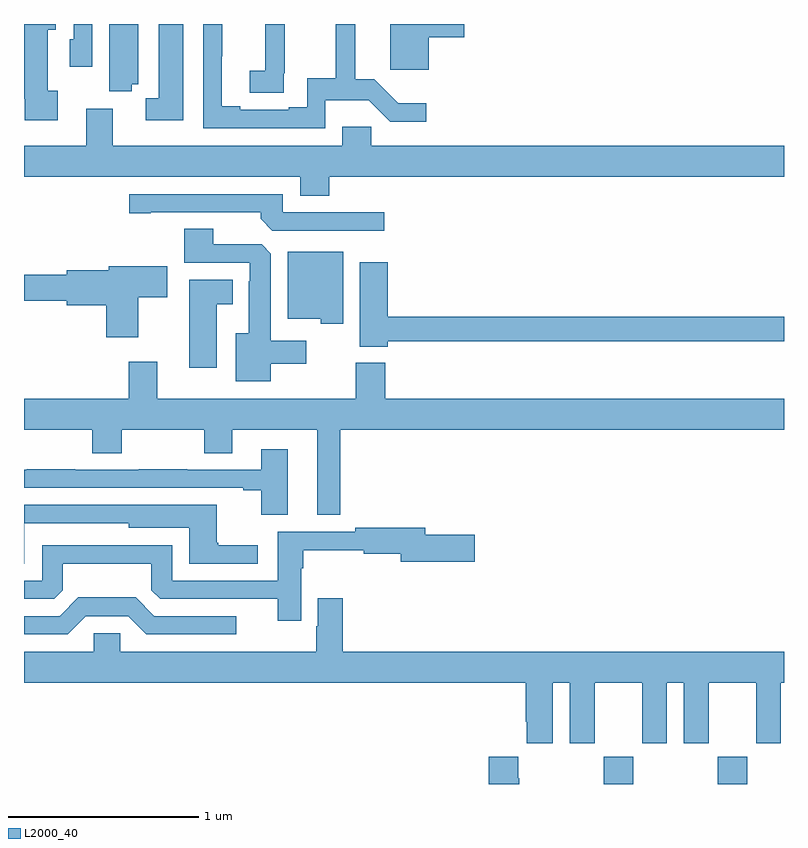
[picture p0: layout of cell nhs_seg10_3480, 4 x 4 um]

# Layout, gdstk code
import gdstk
lib = gdstk.Library(unit=1e-6, precision=1e-09)
def R(c, l, rs):  # rectangles x0, y0, x1, y1
    for r in rs: c.add(gdstk.rectangle(r[:2], r[2:], *l))
def P(c, l, *ps):  # polygons
    for p in ps: c.add(gdstk.Polygon(p, *l))
L2000_40 = (2000, 40)

nhs_seg10_3480 = lib.new_cell('nhs_seg10_3480')
R(nhs_seg10_3480, L2000_40, [(304.051,1250.5,304.206,1250.644), (304.651,1250.5,304.806,1250.644)])
P(nhs_seg10_3480, L2000_40, [(301.568,1254.182),(301.6,1254.182),(301.6,1254.5),(301.448,1254.5),(301.448,1254.145),(301.568,1254.145)],
  [(301.837,1254.5),(301.709,1254.5),(301.709,1254.108),(301.641,1254.108),(301.641,1253.993),(301.837,1253.993)],
  [(301.177,1254.15),(301.126,1254.15),(301.126,1254.47),(301.168,1254.47),(301.168,1254.5),(301,1254.5),(301,1254.106),(301.004,1254.106),(301.004,1253.994),(301.177,1253.994)],
  [(303.13,1254.43),(303.316,1254.43),(303.316,1254.5),(302.927,1254.5),(302.927,1254.26),(303.13,1254.26)],
  [(302.586,1254.098),(302.815,1254.098),(302.928,1253.985),(303.118,1253.985),(303.118,1254.082),(302.969,1254.082),(302.843,1254.208),(302.744,1254.208),(302.744,1254.5),(302.641,1254.5),(302.641,1254.215),(302.49,1254.215),(302.49,1254.062),(302.393,1254.062),(302.393,1254.048),(302.137,1254.048),(302.137,1254.068),(302.041,1254.068),(302.041,1254.331),(302.043,1254.331),(302.043,1254.5),(301.944,1254.5),(301.944,1253.952),(302.586,1253.952)],
  [(302.366,1254.241),(302.372,1254.241),(302.372,1254.5),(302.269,1254.5),(302.269,1254.254),(302.187,1254.254),(302.187,1254.139),(302.366,1254.139)],
  [(301.359,1254.5),(301.263,1254.5),(301.263,1254.42),(301.242,1254.42),(301.242,1254.276),(301.359,1254.276)],
  [(302.606,1253.696),(305,1253.696),(305,1253.86),(302.827,1253.86),(302.827,1253.958),(302.675,1253.958),(302.675,1253.86),(301.468,1253.86),(301.468,1254.055),(301.328,1254.055),(301.328,1253.86),(301,1253.86),(301,1253.696),(302.453,1253.696),(302.453,1253.597),(302.606,1253.597)],
  [(302.896,1253.508),(302.361,1253.508),(302.361,1253.604),(301.554,1253.604),(301.554,1253.503),(301.666,1253.503),(301.666,1253.508),(302.246,1253.508),(302.246,1253.474),(302.307,1253.412),(302.896,1253.412)],
  [(302.299,1252.712),(302.485,1252.712),(302.485,1252.834),(302.299,1252.834),(302.299,1253.291),(302.25,1253.34),(301.996,1253.34),(301.996,1253.423),(301.844,1253.423),(301.844,1253.244),(302.187,1253.244),(302.187,1253.147),(302.183,1253.147),(302.183,1252.873),(302.114,1252.873),(302.114,1252.619),(302.299,1252.619)],
  [(302.68,1253.302),(302.387,1253.302),(302.387,1252.949),(302.562,1252.949),(302.562,1252.922),(302.68,1252.922)],
  [(302.915,1252.83),(305,1252.83),(305,1252.958),(302.915,1252.958),(302.915,1253.245),(302.768,1253.245),(302.768,1252.802),(302.915,1252.802)],
  [(301.6,1253.062),(301.753,1253.062),(301.753,1253.224),(301.445,1253.224),(301.445,1253.204),(301.226,1253.204),(301.226,1253.18),(301,1253.18),(301,1253.044),(301.226,1253.044),(301.226,1253.021),(301.433,1253.021),(301.433,1252.851),(301.6,1252.851)],
  [(302.014,1253.024),(302.098,1253.024),(302.098,1253.155),(301.871,1253.155),(301.871,1252.692),(302.014,1252.692)],
  [(302.665,1252.364),(305,1252.364),(305,1252.528),(302.9,1252.528),(302.9,1252.717),(302.747,1252.717),(302.747,1252.528),(301.702,1252.528),(301.702,1252.723),(301.55,1252.723),(301.55,1252.528),(301,1252.528),(301,1252.364),(301.36,1252.364),(301.36,1252.24),(301.515,1252.24),(301.515,1252.364),(301.948,1252.364),(301.948,1252.24),(302.095,1252.24),(302.095,1252.364),(302.543,1252.364),(302.543,1251.918),(302.665,1251.918)],
  [(302.389,1252.261),(302.249,1252.261),(302.249,1252.155),(301.859,1252.155),(301.859,1252.157),(301.603,1252.157),(301.603,1252.155),(301.271,1252.155),(301.271,1252.157),(301.015,1252.157),(301.015,1252.155),(301,1252.155),(301,1252.059),(302.153,1252.059),(302.153,1252.047),(302.249,1252.047),(302.249,1251.918),(302.389,1251.918)],
  [(301.002,1251.873),(301.551,1251.873),(301.551,1251.848),(301.871,1251.848),(301.871,1251.66),(302.23,1251.66),(302.23,1251.757),(302.022,1251.757),(302.022,1251.769),(302.014,1251.769),(302.014,1251.97),(301.651,1251.97),(301.651,1251.969),(301,1251.969),(301,1251.66),(301.002,1251.66)],
  [(302.458,1251.635),(302.471,1251.635),(302.471,1251.73),(302.788,1251.73),(302.788,1251.712),(302.984,1251.712),(302.984,1251.67),(303.373,1251.67),(303.373,1251.812),(303.112,1251.812),(303.112,1251.848),(302.743,1251.848),(302.743,1251.828),(302.336,1251.828),(302.336,1251.57),(301.779,1251.57),(301.779,1251.756),(301.095,1251.756),(301.095,1251.57),(301,1251.57),(301,1251.474),(301.158,1251.474),(301.203,1251.519),(301.203,1251.659),(301.671,1251.659),(301.671,1251.519),(301.716,1251.474),(302.336,1251.474),(302.336,1251.36),(302.458,1251.36)],
  [(301.326,1251.384),(301.548,1251.384),(301.644,1251.288),(302.116,1251.288),(302.116,1251.384),(301.686,1251.384),(301.589,1251.482),(301.286,1251.482),(301.188,1251.384),(301,1251.384),(301,1251.288),(301.23,1251.288)],
  [(303.784,1251.032),(303.872,1251.032),(303.872,1250.715),(304.003,1250.715),(304.003,1251.032),(304.253,1251.032),(304.253,1250.715),(304.384,1250.715),(304.384,1251.032),(304.472,1251.032),(304.472,1250.715),(304.603,1250.715),(304.603,1251.032),(304.853,1251.032),(304.853,1250.715),(304.984,1250.715),(304.984,1251.032),(305,1251.032),(305,1251.196),(302.678,1251.196),(302.678,1251.478),(302.546,1251.478),(302.546,1251.329),(302.539,1251.329),(302.539,1251.196),(301.506,1251.196),(301.506,1251.294),(301.368,1251.294),(301.368,1251.196),(301,1251.196),(301,1251.032),(303.641,1251.032),(303.641,1250.827),(303.647,1250.827),(303.647,1250.715),(303.784,1250.715)],
  [(303.606,1250.531),(303.601,1250.531),(303.601,1250.644),(303.446,1250.644),(303.446,1250.5),(303.606,1250.5)])

lib.write_gds('nhs_seg10_3480.gds')
